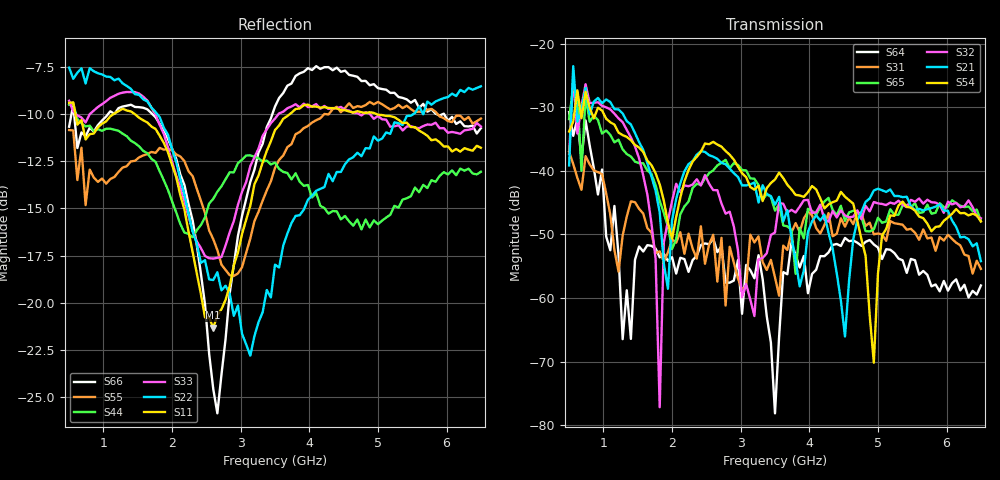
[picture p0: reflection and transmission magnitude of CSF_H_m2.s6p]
!Keysight Technologies,M9804A,MY58100912,A.14.10.03
!Date: Thursday, April 27, 2023 10:28:33
!Correction: S11(C  6-Port  )
!S12(C  6-Port  )
!S13(C  6-Port  )
!S14(C  6-Port  )
!S15(C  6-Port  )
!S16(C  6-Port  )
!S21(C  6-Port  )
!S22(C  6-Port  )
!S23(C  6-Port  )
!S24(C  6-Port  )
!S25(C  6-Port  )
!S26(C  6-Port  )
!S31(C  6-Port  )
!S32(C  6-Port  )
!S33(C  6-Port  )
!S34(C  6-Port  )
!S35(C  6-Port  )
!S36(C  6-Port  )
!S41(C  6-Port  )
!S42(C  6-Port  )
!S43(C  6-Port  )
!S44(C  6-Port  )
!S45(C  6-Port  )
!S46(C  6-Port  )
!S51(C  6-Port  )
!S52(C  6-Port  )
!S53(C  6-Port  )
!S54(C  6-Port  )
!S55(C  6-Port  )
!S56(C  6-Port  )
!S61(C  6-Port  )
!S62(C  6-Port  )
!S63(C  6-Port  )
!S64(C  6-Port  )
!S65(C  6-Port  )
!S66(C  6-Port  )
!S6P File: Measurement: :
# Hz S  RI  R 50
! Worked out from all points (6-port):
!   101 points, 500 MHz to 6.5 GHz, reference 50 ohm
!   strongest paths, dB at 500 MHz, 2 GHz, 3.5 GHz, 5 GHz, 6.5 GHz:
!     S54: -33.8, -50.7, -41.4, -56.2, -48.0
!     S21: -39.2, -47.7, -45.3, -42.8, -54.2
!     S32: -37.4, -44.7, -49.7, -45.1, -47.5
!     S65: -31.9, -52.3, -46.3, -47.4, -47.9
!     S31: -37.0, -50.8, -56.8, -49.9, -55.4
!     S64: -30.8, -53.6, -78.1, -52.1, -58.0
!   lowest |S11| = -21.3 dB at 2.6 GHz (marker M1), VSWR 1.19, Z = 42.4 + j2.31 ohm
!   |S11| at or under -10 dB: 592.4 MHz to 1.141 GHz (548.3 MHz wide, 63.3 % of centre); 1.462 GHz to 3.71 GHz (2.248 GHz wide, 86.9 % of centre); 4.991 GHz to end of sweep
